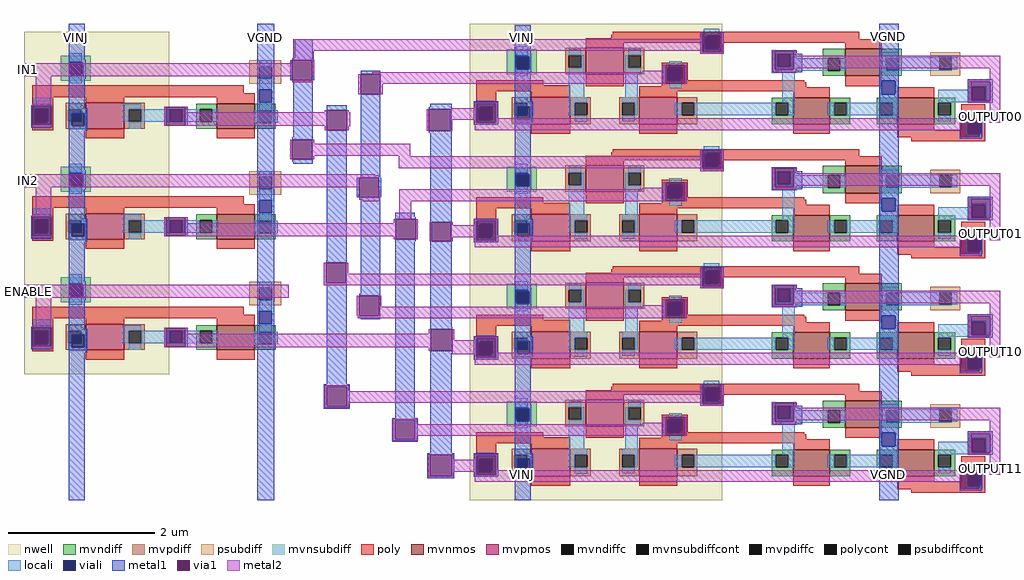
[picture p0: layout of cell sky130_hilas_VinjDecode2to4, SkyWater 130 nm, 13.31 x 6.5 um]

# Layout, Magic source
magic
tech sky130A
<< nwell >>
rect -29 679 315 681
rect 32 659 54 665
rect 32 64 54 69
rect -29 31 315 35
<< metal1 >>
rect -576 658 -554 681
rect -319 657 -296 681
rect -270 631 -243 660
rect 32 659 54 665
rect 529 661 556 666
rect -274 604 -271 631
rect -244 604 -241 631
rect -178 612 -151 617
rect -270 526 -243 604
rect -271 523 -243 526
rect -244 496 -243 523
rect -271 493 -243 496
rect -270 490 -243 493
rect -224 563 -197 570
rect -224 358 -197 536
rect -178 471 -151 585
rect -83 567 -54 572
rect -85 564 -54 567
rect -56 535 -54 564
rect -85 532 -54 535
rect -183 444 -180 471
rect -153 444 -150 471
rect -225 355 -197 358
rect -198 328 -197 355
rect -225 325 -197 328
rect -576 31 -554 235
rect -319 31 -296 236
rect -224 189 -197 325
rect -178 313 -151 444
rect -180 310 -151 313
rect -153 283 -151 310
rect -180 280 -151 283
rect -178 278 -151 280
rect -131 417 -104 423
rect -131 414 -103 417
rect -131 387 -130 414
rect -131 384 -103 387
rect -83 410 -54 532
rect -83 384 -81 410
rect -55 384 -54 410
rect -228 186 -193 189
rect -228 159 -224 186
rect -197 159 -193 186
rect -228 156 -193 159
rect -131 143 -104 384
rect -83 267 -54 384
rect -83 264 -53 267
rect -83 235 -82 264
rect -83 232 -53 235
rect -135 141 -100 143
rect -135 114 -131 141
rect -104 114 -100 141
rect -135 111 -100 114
rect -83 95 -54 232
rect -87 93 -50 95
rect -87 64 -83 93
rect -54 64 -50 93
rect 32 64 54 69
rect 529 64 556 69
rect -87 61 -50 64
rect 32 31 54 39
rect 529 31 556 39
<< via1 >>
rect -271 604 -244 631
rect -178 585 -151 612
rect -271 496 -244 523
rect -224 536 -197 563
rect -85 535 -56 564
rect -180 444 -153 471
rect -225 328 -198 355
rect -180 283 -153 310
rect -130 387 -103 414
rect -81 384 -55 410
rect -224 159 -197 186
rect -82 235 -53 264
rect -131 114 -104 141
rect -83 64 -54 93
<< metal2 >>
rect -268 644 -13 660
rect -268 634 -242 644
rect -271 631 -242 634
rect -637 609 -626 627
rect -294 609 -271 627
rect -244 629 -242 631
rect -244 609 -241 629
rect -162 612 -29 615
rect -271 601 -244 604
rect -181 585 -178 612
rect -151 599 -29 612
rect -151 585 -148 599
rect -54 564 -29 566
rect -227 560 -224 563
rect -294 542 -224 560
rect -227 536 -224 542
rect -197 560 -194 563
rect -197 541 -192 560
rect -197 536 -194 541
rect -88 535 -85 564
rect -56 550 -29 564
rect -56 535 -53 550
rect 681 546 694 563
rect -274 496 -271 523
rect -244 517 -241 523
rect -244 501 -110 517
rect -244 496 -241 501
rect -126 500 -110 501
rect -126 484 -30 500
rect -637 458 -626 476
rect -294 474 -158 476
rect -294 471 -153 474
rect -294 458 -180 471
rect -153 444 -152 455
rect -180 441 -152 444
rect -175 439 -152 441
rect -125 439 -29 455
rect -125 414 -109 439
rect -133 409 -130 414
rect -294 391 -130 409
rect -133 387 -130 391
rect -103 387 -100 414
rect -84 384 -81 410
rect -55 406 -52 410
rect -55 390 -29 406
rect -55 384 -52 390
rect 681 386 694 403
rect -228 328 -225 355
rect -198 340 -195 355
rect -198 328 -14 340
rect -637 307 -626 325
rect -228 324 -14 328
rect -183 283 -180 310
rect -153 295 -150 310
rect -153 283 -14 295
rect -182 279 -14 283
rect -85 258 -82 264
rect -294 240 -82 258
rect -85 235 -82 240
rect -53 249 -50 264
rect -53 246 -23 249
rect -53 230 -29 246
rect 681 226 694 243
rect -227 186 -194 188
rect -227 159 -224 186
rect -197 180 -194 186
rect -197 164 -14 180
rect -197 159 -194 164
rect -227 157 -194 159
rect -134 141 -101 142
rect -134 114 -131 141
rect -104 135 -101 141
rect -104 119 -14 135
rect -104 114 -101 119
rect -134 112 -101 114
rect -86 93 -51 94
rect -86 64 -83 93
rect -54 86 -51 93
rect -54 70 -20 86
rect -54 64 -51 70
rect 681 66 694 83
rect -86 63 -51 64
use sky130_hilas_VinjInv2  VinjInv2_2
transform 1 0 -301 0 1 60
box -336 143 25 308
use sky130_hilas_VinjInv2  VinjInv2_1
transform 1 0 -301 0 1 211
box -336 143 25 308
use sky130_hilas_VinjInv2  VinjInv2_0
transform 1 0 -301 0 1 362
box -336 143 25 308
use sky130_hilas_VinjNOR3  VinjNOR3_2
transform 1 0 307 0 1 211
box -337 140 387 310
use sky130_hilas_VinjNOR3  VinjNOR3_3
transform 1 0 307 0 1 371
box -337 140 387 310
use sky130_hilas_VinjNOR3  VinjNOR3_1
transform 1 0 307 0 1 51
box -337 140 387 310
use sky130_hilas_VinjNOR3  VinjNOR3_0
transform 1 0 307 0 1 -109
box -337 140 387 310
<< labels >>
rlabel metal1 529 661 556 666 0 VGND
port 5 nsew
rlabel metal1 529 64 556 69 0 VGND
port 5 nsew
rlabel metal1 32 64 54 69 0 VINJ
port 6 nsew
rlabel metal1 32 659 54 665 0 VINJ
port 6 nsew
rlabel metal2 -637 609 -626 627 0 IN1
port 8 nsew
rlabel metal2 -637 458 -626 476 0 IN2
port 7 nsew
rlabel metal2 -637 307 -626 325 0 ENABLE
port 9 nsew
rlabel metal1 -576 658 -554 666 0 VINJ
port 6 nsew
rlabel metal1 -319 657 -296 666 0 VGND
port 5 nsew
rlabel metal2 681 546 694 563 0 OUTPUT00
port 1 nsew
rlabel metal2 681 386 694 403 0 OUTPUT01
port 2 nsew
rlabel metal2 681 226 694 243 0 OUTPUT10
port 3 nsew
rlabel metal2 681 66 694 83 0 OUTPUT11
port 4 nsew
<< end >>

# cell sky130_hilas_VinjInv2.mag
magic
tech sky130A
<< nwell >>
rect -336 143 -138 308
<< mvnmos >>
rect -73 176 -21 210
<< mvpmos >>
rect -252 176 -199 211
<< mvndiff >>
rect -101 202 -73 210
rect -101 185 -96 202
rect -79 185 -73 202
rect -101 176 -73 185
rect -21 201 7 210
rect -21 184 -15 201
rect 2 184 7 201
rect -21 176 7 184
<< mvpdiff >>
rect -279 202 -252 211
rect -279 185 -275 202
rect -258 185 -252 202
rect -279 176 -252 185
rect -199 202 -171 211
rect -199 185 -193 202
rect -176 185 -171 202
rect -199 176 -171 185
<< mvndiffc >>
rect -96 185 -79 202
rect -15 184 2 201
<< mvpdiffc >>
rect -275 185 -258 202
rect -193 185 -176 202
<< psubdiff >>
rect -29 261 15 269
rect -29 244 -15 261
rect 2 244 15 261
rect -29 237 15 244
<< mvnsubdiff >>
rect -286 267 -245 275
rect -286 250 -274 267
rect -257 250 -245 267
rect -286 241 -245 250
<< psubdiffcont >>
rect -15 244 2 261
<< mvnsubdiffcont >>
rect -274 250 -257 267
<< poly >>
rect -325 224 -36 235
rect -325 219 -21 224
rect -325 203 -296 219
rect -252 211 -199 219
rect -325 186 -320 203
rect -303 186 -296 203
rect -325 174 -296 186
rect -73 210 -21 219
rect -252 163 -199 176
rect -73 163 -21 176
<< polycont >>
rect -320 186 -303 203
<< locali >>
rect -274 267 -257 279
rect -274 248 -272 250
rect -15 261 2 269
rect -274 238 -257 248
rect -15 229 2 244
rect -323 203 -300 218
rect -323 202 -320 203
rect -323 184 -321 202
rect -303 186 -300 203
rect -304 184 -300 186
rect -323 176 -300 184
rect -275 204 -258 210
rect -275 202 -250 204
rect -258 197 -250 202
rect -275 180 -271 185
rect -254 180 -250 197
rect -201 202 -176 210
rect -201 185 -193 202
rect -176 185 -137 202
rect -120 185 -96 202
rect -79 185 -71 202
rect -15 201 2 212
rect -275 177 -250 180
rect -274 175 -250 177
rect -193 176 -176 185
rect -23 184 -15 201
rect 2 184 10 201
<< viali >>
rect -272 250 -257 265
rect -257 250 -255 265
rect -272 248 -255 250
rect -15 212 2 229
rect -321 186 -320 202
rect -320 186 -304 202
rect -321 184 -304 186
rect -271 185 -258 197
rect -258 185 -254 197
rect -271 180 -254 185
rect -137 185 -120 202
<< metal1 >>
rect -275 270 -253 304
rect -275 265 -252 270
rect -275 248 -272 265
rect -255 248 -252 265
rect -275 244 -252 248
rect -325 208 -299 210
rect -326 207 -298 208
rect -326 181 -325 207
rect -299 181 -298 207
rect -326 177 -298 181
rect -275 204 -253 244
rect -18 229 5 304
rect -18 212 -15 229
rect 2 212 5 229
rect -275 197 -250 204
rect -275 180 -271 197
rect -254 180 -250 197
rect -145 180 -142 206
rect -116 180 -113 206
rect -275 173 -250 180
rect -275 153 -253 173
rect -18 153 5 212
<< via1 >>
rect -325 202 -299 207
rect -325 184 -321 202
rect -321 184 -304 202
rect -304 184 -299 202
rect -325 181 -299 184
rect -142 202 -116 206
rect -142 185 -137 202
rect -137 185 -120 202
rect -120 185 -116 202
rect -142 180 -116 185
<< metal2 >>
rect -336 247 25 265
rect -320 210 -299 247
rect -325 207 -299 210
rect -325 178 -299 181
rect -145 180 -142 206
rect -116 198 -113 206
rect -116 180 25 198
<< labels >>
rlabel metal1 -275 153 -253 159 0 Vinj
rlabel metal1 -275 297 -253 304 0 Vinj
rlabel metal1 -18 295 5 304 0 GND
rlabel metal1 -18 153 5 159 0 GND
rlabel metal2 -336 247 -326 265 0 Input
rlabel metal2 16 247 25 265 0 Input
rlabel metal2 16 180 25 198 0 Output
<< end >>

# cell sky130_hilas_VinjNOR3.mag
magic
tech sky130A
<< nwell >>
rect -336 144 8 308
<< mvnmos >>
rect 176 239 226 276
rect 105 173 155 209
rect 247 173 297 209
<< mvpmos >>
rect -178 241 -126 277
rect -252 173 -199 210
rect -105 173 -53 210
<< mvndiff >>
rect 145 263 176 276
rect 145 246 152 263
rect 169 246 176 263
rect 145 239 176 246
rect 226 263 253 276
rect 226 246 232 263
rect 249 246 253 263
rect 226 239 253 246
rect 76 202 105 209
rect 76 185 81 202
rect 98 185 105 202
rect 76 173 105 185
rect 155 202 183 209
rect 155 185 161 202
rect 178 185 183 202
rect 155 173 183 185
rect 219 202 247 209
rect 219 185 224 202
rect 241 185 247 202
rect 219 173 247 185
rect 297 202 326 209
rect 297 185 303 202
rect 320 185 326 202
rect 297 173 326 185
<< mvpdiff >>
rect -206 267 -178 277
rect -206 250 -201 267
rect -184 250 -178 267
rect -206 241 -178 250
rect -126 267 -98 277
rect -126 250 -120 267
rect -103 250 -98 267
rect -126 241 -98 250
rect -279 202 -252 210
rect -279 185 -275 202
rect -258 185 -252 202
rect -279 173 -252 185
rect -199 202 -171 210
rect -199 185 -193 202
rect -176 185 -171 202
rect -199 173 -171 185
rect -132 202 -105 210
rect -132 185 -128 202
rect -111 185 -105 202
rect -132 173 -105 185
rect -53 202 -26 210
rect -53 185 -47 202
rect -30 185 -26 202
rect -53 173 -26 185
<< mvndiffc >>
rect 152 246 169 263
rect 232 246 249 263
rect 81 185 98 202
rect 161 185 178 202
rect 224 185 241 202
rect 303 185 320 202
<< mvpdiffc >>
rect -201 250 -184 267
rect -120 250 -103 267
rect -275 185 -258 202
rect -193 185 -176 202
rect -128 185 -111 202
rect -47 185 -30 202
<< psubdiff >>
rect 292 264 333 271
rect 292 247 304 264
rect 321 247 333 264
rect 292 239 333 247
<< mvnsubdiff >>
rect -286 267 -245 275
rect -286 250 -274 267
rect -257 250 -245 267
rect -286 241 -245 250
<< psubdiffcont >>
rect 304 247 321 264
<< mvnsubdiffcont >>
rect -274 250 -257 267
<< poly >>
rect -141 295 195 299
rect -143 294 195 295
rect -143 290 -13 294
rect -178 284 -13 290
rect -178 277 -126 284
rect -19 283 -13 284
rect -18 277 -13 283
rect 4 289 195 294
rect 4 284 226 289
rect 4 277 9 284
rect -18 269 9 277
rect 176 276 226 284
rect -74 251 -39 257
rect -327 226 -236 233
rect -327 218 -199 226
rect -178 225 -126 241
rect -74 234 -64 251
rect -47 234 -39 251
rect -74 233 -39 234
rect -74 230 120 233
rect -74 225 123 230
rect 176 225 226 239
rect -327 197 -300 218
rect -252 210 -199 218
rect -105 223 123 225
rect -105 218 155 223
rect -105 210 -53 218
rect -327 180 -322 197
rect -305 180 -300 197
rect -327 172 -300 180
rect 105 209 155 218
rect 247 209 297 223
rect 334 178 367 200
rect -252 160 -199 173
rect -105 160 -53 173
rect 105 160 155 173
rect 247 165 297 173
rect 334 165 345 178
rect 247 161 345 165
rect 362 161 367 178
rect 247 155 367 161
rect 266 150 367 155
<< polycont >>
rect -13 277 4 294
rect -64 234 -47 251
rect -322 180 -305 197
rect 345 161 362 178
<< locali >>
rect -17 294 4 303
rect -17 292 -13 294
rect -274 267 -257 279
rect -17 275 -15 292
rect 2 275 4 277
rect -201 267 -184 275
rect -120 267 -103 275
rect -17 269 4 275
rect -274 248 -272 250
rect -184 250 -180 267
rect -274 238 -257 248
rect -201 210 -180 250
rect -124 250 -120 267
rect 81 268 108 269
rect -124 242 -103 250
rect -64 251 -47 259
rect -124 210 -107 242
rect 81 251 84 268
rect 101 263 108 268
rect 223 264 249 271
rect 303 264 321 265
rect 223 263 304 264
rect 101 251 152 263
rect 81 246 152 251
rect 169 246 177 263
rect 223 246 232 263
rect 249 247 304 263
rect 321 247 329 264
rect 249 246 321 247
rect 81 245 108 246
rect -50 232 -47 234
rect -64 222 -47 232
rect -326 197 -301 205
rect -326 195 -322 197
rect -326 178 -324 195
rect -305 180 -301 197
rect -307 178 -301 180
rect -326 172 -301 178
rect -275 204 -258 210
rect -275 202 -250 204
rect -258 197 -250 202
rect -275 180 -271 185
rect -254 180 -250 197
rect -201 202 -176 210
rect -201 185 -193 202
rect -275 177 -250 180
rect -274 175 -250 177
rect -193 176 -176 185
rect -128 202 -107 210
rect 90 202 107 245
rect 223 232 249 246
rect 223 214 226 232
rect 244 214 249 232
rect 343 223 368 225
rect 343 220 349 223
rect 223 202 249 214
rect -111 185 -107 202
rect -56 185 -47 202
rect -30 185 81 202
rect 98 185 107 202
rect 152 185 161 202
rect 178 185 224 202
rect 241 185 249 202
rect 303 206 349 220
rect 366 206 368 223
rect 303 203 368 206
rect 303 202 320 203
rect -128 177 -111 185
rect 303 177 320 185
rect 340 178 362 186
rect 340 176 345 178
rect 340 159 343 176
rect 360 159 362 161
rect 340 153 362 159
<< viali >>
rect -15 277 -13 292
rect -13 277 2 292
rect -15 275 2 277
rect -272 250 -257 265
rect -257 250 -255 265
rect -272 248 -255 250
rect -67 234 -64 249
rect -64 234 -50 249
rect 84 251 101 268
rect -67 232 -50 234
rect -324 180 -322 195
rect -322 180 -307 195
rect -324 178 -307 180
rect -271 185 -258 197
rect -258 185 -254 197
rect -271 180 -254 185
rect 226 214 244 232
rect 349 206 366 223
rect 343 161 345 176
rect 345 161 360 176
rect 343 159 360 161
<< metal1 >>
rect -275 270 -253 308
rect -22 298 10 299
rect -22 272 -19 298
rect 7 272 10 298
rect -275 265 -252 270
rect -22 269 10 272
rect 76 273 110 274
rect -275 248 -272 265
rect -255 248 -252 265
rect -275 244 -252 248
rect -275 204 -253 244
rect -73 228 -69 254
rect -43 228 -40 254
rect 76 247 80 273
rect 106 269 110 273
rect 106 247 117 269
rect 76 244 117 247
rect 76 243 110 244
rect 222 232 249 310
rect 222 214 226 232
rect 244 214 249 232
rect -331 201 -297 204
rect -331 175 -327 201
rect -301 175 -297 201
rect -331 172 -297 175
rect -275 197 -250 204
rect -275 180 -271 197
rect -254 180 -250 197
rect -275 173 -250 180
rect -275 148 -253 173
rect 222 148 249 214
rect 343 231 377 234
rect 343 205 348 231
rect 374 205 377 231
rect 343 202 377 205
rect 332 182 362 186
rect 332 156 333 182
rect 359 179 362 182
rect 359 176 363 179
rect 360 159 363 176
rect 359 156 363 159
rect 332 153 362 156
<< via1 >>
rect -19 292 7 298
rect -19 275 -15 292
rect -15 275 2 292
rect 2 275 7 292
rect -19 272 7 275
rect -69 249 -43 254
rect -69 232 -67 249
rect -67 232 -50 249
rect -50 232 -43 249
rect -69 228 -43 232
rect 80 268 106 273
rect 80 251 84 268
rect 84 251 101 268
rect 101 251 106 268
rect 80 247 106 251
rect -327 195 -301 201
rect -327 178 -324 195
rect -324 178 -307 195
rect -307 178 -301 195
rect -327 175 -301 178
rect 348 223 374 231
rect 348 206 349 223
rect 349 206 366 223
rect 366 206 374 223
rect 348 205 374 206
rect 333 176 359 182
rect 333 159 343 176
rect 343 159 359 176
rect 333 156 359 159
<< metal2 >>
rect -22 289 -19 298
rect -337 273 -19 289
rect -22 272 -19 273
rect 7 272 10 298
rect -22 269 10 272
rect -73 246 -69 254
rect -100 244 -69 246
rect -337 228 -69 244
rect -43 228 -40 254
rect 77 247 80 273
rect 106 266 109 273
rect 106 249 387 266
rect 106 247 109 249
rect 77 244 109 247
rect 373 232 387 249
rect 345 231 387 232
rect 345 205 348 231
rect 374 205 387 231
rect 345 203 387 205
rect -330 201 -298 203
rect -330 195 -327 201
rect -337 179 -327 195
rect -330 175 -327 179
rect -301 181 -298 201
rect 333 182 359 185
rect -301 175 333 181
rect -330 173 333 175
rect -329 165 333 173
rect 373 175 387 203
rect 333 153 359 156
<< labels >>
rlabel metal2 -337 273 -331 289 0 Input1
rlabel metal2 -337 228 -331 244 0 Input2
rlabel metal2 -337 179 -331 195 0 Input3
rlabel metal1 222 299 249 305 0 GND
rlabel metal1 222 153 249 158 0 GND
rlabel metal1 -275 153 -253 159 0 Vinj
rlabel metal1 -275 297 -253 304 0 Vinj
rlabel metal2 381 175 387 192 0 OUTPUT
port 1 nsew
<< end >>
